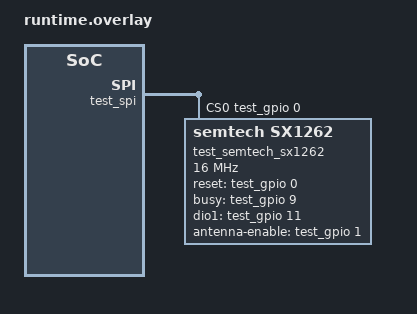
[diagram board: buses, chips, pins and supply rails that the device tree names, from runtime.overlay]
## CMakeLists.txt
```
# SPDX-FileCopyrightText: FoBE Studio
# SPDX-License-Identifier: Apache-2.0
cmake_minimum_required(VERSION 3.20.0)
find_package(Zephyr REQUIRED HINTS $ENV{ZEPHYR_BASE})
project(meshcore_role_lifecycle)
target_sources(app PRIVATE src/main.c)
target_link_libraries(zephyr_interface INTERFACE "-Wl,--wrap=settings_save_one" "-Wl,--wrap=settings_delete")
if(ROLE_RUNTIME_TEST)
  target_link_libraries(zephyr_interface INTERFACE "-Wl,--wrap=zbus_chan_pub"
    "-Wl,--wrap=meshcore_init" "-Wl,--wrap=meshcore_deinit" "-Wl,--wrap=meshcore_radio_tx_done" "-Wl,--wrap=meshcore_radio_rx_inject"
    "-Wl,--wrap=meshcore_node_advert_request" "-Wl,--wrap=k_work_submit_to_queue")
  target_compile_definitions(app PRIVATE TEST_REQUIRE_RUNTIME=1)
  target_sources(app PRIVATE src/radio_unavailable.c)
  target_include_directories(app PRIVATE ${ZEPHYR_BASE}/drivers/lora/lora-basics-modem)
endif()
```

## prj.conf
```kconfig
# SPDX-FileCopyrightText: FoBE Studio
# SPDX-License-Identifier: Apache-2.0

CONFIG_ZTEST=y
CONFIG_ZBUS_RUNTIME_OBSERVERS=y
CONFIG_ASSERT=y
CONFIG_LOG=y
CONFIG_MBS=y
CONFIG_MBS_SHELL=n
CONFIG_MBS_MESHCORE=y
CONFIG_MBS_MESHCORE_RUNTIME=n
CONFIG_MBS_CONTACT=y
CONFIG_MBS_CHANNEL=y
CONFIG_MBS_CHANNEL_MAX_CHANNELS=1
CONFIG_MBS_MESSAGE=y
CONFIG_MBS_MESSAGE_MAX_STORE_COUNT=5
CONFIG_SETTINGS=y
CONFIG_SETTINGS_ZMS=y
CONFIG_ZMS=y
CONFIG_FLASH=y
CONFIG_FLASH_MAP=y
CONFIG_FLASH_SIMULATOR=y
CONFIG_ENTROPY_GENERATOR=y
CONFIG_TEST_RANDOM_GENERATOR=y
CONFIG_MAIN_STACK_SIZE=4096
CONFIG_SYSTEM_WORKQUEUE_STACK_SIZE=4096
CONFIG_ZTEST_STACK_SIZE=4096
CONFIG_HEAP_MEM_POOL_SIZE=8192
```

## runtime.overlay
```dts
/* Capability metadata only; the physical driver is disabled and no radio is chosen. */
/*
 * SPDX-FileCopyrightText: FoBE Studio
 * SPDX-License-Identifier: Apache-2.0
 */

/ {
	test {
		#address-cells = <1>;
		#size-cells = <1>;

		test_gpio: gpio@deadbeef {
			compatible = "vnd,gpio";
			gpio-controller;
			reg = <0xdeadbeef 0x1000>;
			#gpio-cells = <0x2>;
			status = "okay";
		};

		test_spi: spi@33334444 {
			#address-cells = <1>;
			#size-cells = <0>;
			compatible = "vnd,spi";
			reg = <0x33334444 0x1000>;
			status = "okay";

			cs-gpios = <&test_gpio 0 0>;

			test_semtech_sx1262: sx1262@0 {
				compatible = "semtech,sx1262";
				status = "okay";
				reg = <0>;
				spi-max-frequency = <16000000>;
				reset-gpios = <&test_gpio 0 0>;
				busy-gpios = <&test_gpio 9 0>;
				dio1-gpios = <&test_gpio 11 0>;
				antenna-enable-gpios = <&test_gpio 1 0>;
				dio2-tx-enable;
				tcxo-power-startup-delay-ms = <5>;
			};
		};
	};
};
```

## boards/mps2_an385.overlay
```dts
#include <mem.h>

/ {
	sram_203F0000: sram@203f0000 {
		compatible = "zephyr,memory-region", "mmio-sram";
		reg = <0x203f0000 0x10000>;
		zephyr,memory-region = "FlashSim";
		status = "okay";
	};

	sim_flash_controller: sim_flash_controller {
		compatible = "zephyr,sim-flash";

		#address-cells = <1>;
		#size-cells = <1>;
		erase-value = <0xff>;
		memory-region = <&sram_203F0000>;

		flash_sim0: flash_sim@0 {
			compatible = "soc-nv-flash";
			reg = <0x00000000 0x10000>;

			erase-block-size = <1024>;
			write-block-size = <4>;
		};
	};
};

&flash_sim0 {
	partitions {
		compatible = "fixed-partitions";
		#address-cells = <1>;
		#size-cells = <1>;
		storage_partition: partition@0 {
			label = "storage";
			reg = <0 0x10000>;
		};
	};
};
```

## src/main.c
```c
/* SPDX-FileCopyrightText: FoBE Studio */
/* SPDX-License-Identifier: Apache-2.0 */
#include <errno.h>
#include <string.h>
#include <zephyr/device.h>
#include <zephyr/drivers/flash.h>
#include <zephyr/init.h>
#include <channel/channel.h>
#include <contact/contact.h>
#include <message/message.h>
#include <zephyr/sys/reboot.h>
#include <meshcore/meshcore.h>
#include <zephyr/settings/settings.h>
#include <zephyr/ztest.h>

#if defined(TEST_REQUIRE_RUNTIME)
#include "meshcore/platform.h"
#include <radio/radio.h>
static bool fake_tx;
static unsigned int fail_init;
static bool fail_submit;
static bool hold_init;
static bool hold_deinit;
static bool check_reentrant;
static bool boot_identity_captured;
static uint8_t boot_public_key[32];
K_SEM_DEFINE(deinit_entered, 0, 1);
K_SEM_DEFINE(deinit_release, 0, 1);
K_SEM_DEFINE(init_entered, 0, 1);
K_SEM_DEFINE(init_release, 0, 1);

int __real_k_work_submit_to_queue(struct k_work_q *queue, struct k_work *work);
int __wrap_k_work_submit_to_queue(struct k_work_q *queue, struct k_work *work)
{
	if (fail_submit) {
		fail_submit = false;
		return -EIO;
	}
	return __real_k_work_submit_to_queue(queue, work);
}

static atomic_t init_failures;
static atomic_t tx_completions;
static atomic_t rx_injections;
static atomic_t advert_requests;

int __real_zbus_chan_pub(const struct zbus_channel *chan, const void *msg, k_timeout_t timeout);
int __wrap_zbus_chan_pub(const struct zbus_channel *chan, const void *msg, k_timeout_t timeout)
{
	if (fake_tx && chan == &mbs_radio_publish_chan) {
		return 0; /* Hold one accepted radio send until the test publishes completion. */
	}
	return __real_zbus_chan_pub(chan, msg, timeout);
}

int __real_meshcore_radio_rx_inject(const uint8_t *data, size_t len,
	int16_t rssi, int8_t snr, uint32_t now);
int __wrap_meshcore_radio_rx_inject(const uint8_t *data, size_t len,
	int16_t rssi, int8_t snr, uint32_t now)
{
	atomic_inc(&rx_injections);
	return __real_meshcore_radio_rx_inject(data, len, rssi, snr, now);
}

int __real_meshcore_node_advert_request(bool flood);
int __wrap_meshcore_node_advert_request(bool flood)
{
	if (check_reentrant) {
		mbs_meshcore_config before, candidate, after;

		check_reentrant = false;
		zassert_ok(mbs_meshcore_config_get(&before));
		candidate = before;
		candidate.role = MBS_MESHCORE_ROLE_ROOM;
		zassert_equal(mbs_meshcore_config_set(&candidate), -EWOULDBLOCK);
		zassert_ok(mbs_meshcore_config_get(&after));
		zassert_mem_equal(&before, &after, sizeof(after));
		zassert_true(mbs_meshcore_runtime_is_ready());
	}
	atomic_inc(&advert_requests);
	return __real_meshcore_node_advert_request(flood);
}

void __real_meshcore_deinit(void);
void __wrap_meshcore_deinit(void)
{
	if (hold_deinit) {
		hold_deinit = false;
		k_sem_give(&deinit_entered);
		zassert_ok(k_sem_take(&deinit_release, K_SECONDS(2)));
	}
	__real_meshcore_deinit();
}

int __real_meshcore_init(void);
int __wrap_meshcore_init(void)
{
	if (!boot_identity_captured) {
		meshcore_common_node_identity_t identity;

		zassert_ok(meshcore_platform_node_identity_get(&identity));
		memcpy(boot_public_key, identity.public_key, sizeof(boot_public_key));
		boot_identity_captured = true;
	}
	if (hold_init) {
		hold_init = false;
		k_sem_give(&init_entered);
		if (k_sem_take(&init_release, K_SECONDS(2)) != 0) {
			return -ETIMEDOUT;
		}
	}
	if (fail_init) {
		fail_init--;
		atomic_inc(&init_failures);
		return -EIO;
	}
	return __real_meshcore_init();
}

int __real_meshcore_radio_tx_done(uint32_t now, bool success);
int __wrap_meshcore_radio_tx_done(uint32_t now, bool success)
{
	atomic_inc(&tx_completions);
	return __real_meshcore_radio_tx_done(now, success);
}

BUILD_ASSERT(IS_ENABLED(CONFIG_MBS_MESHCORE_RUNTIME),
	     "Runtime fixture must include the engine");
#endif

BUILD_ASSERT(DT_NODE_HAS_PROP(DT_NODELABEL(sim_flash_controller), memory_region),
	     "Lifecycle fixture requires flash retained over real emulated resets");

/* The flash simulator and this cursor survive real emulated MCU resets. */
static struct {
	uint32_t magic;
	uint32_t step;
	uint8_t public_key[32];
} retained __noinit;
static atomic_t save_attempts;
#if defined(CONFIG_MBS_CONTACT)
static const uint8_t peer_key[32] = {0x73};
#endif

int __real_settings_save_one(const char *name, const void *value, size_t len);
int __wrap_settings_save_one(const char *name, const void *value, size_t len)
{
	if (strcmp(name, "meshbus/meshcore/config") == 0) {
		atomic_inc(&save_attempts);
	}
	return __real_settings_save_one(name, value, len);
}

int __real_settings_delete(const char *name);
int __wrap_settings_delete(const char *name)
{
	if (strcmp(name, "meshbus/meshcore/config") == 0) {
		atomic_inc(&save_attempts);
	}
	return __real_settings_delete(name);
}

static int prepare_flash(void)
{
	if (retained.magic != 0x726f6c65) {
		const struct device *flash = DEVICE_DT_GET(DT_NODELABEL(sim_flash_controller));
		int rc = flash_erase(flash, 0, 0x10000);

		if (rc != 0) {
			return rc;
		}
		retained.step = 0;
		retained.magic = 0x726f6c65;
	}
	return 0;
}
SYS_INIT(prepare_flash, POST_KERNEL, 99);

#if defined(CONFIG_MBS_CHANNEL)
/* Every directed transition between the four roles, once. */
static const uint8_t roles[] = {1, 2, 1, 3, 1, 4, 2, 3, 2, 4, 3, 4, 1};
#else
static const uint8_t roles[] = {2, 3, 2, 4, 3, 4, 2};
#endif

static void check_role(uint8_t role)
{
	mbs_meshcore_config cfg;

	zassert_ok(mbs_meshcore_config_get(&cfg));
	zassert_equal(cfg.role, role);
	zassert_equal(mbs_meshcore_active_role_get(), role);
	zassert_equal(mbs_meshcore_runtime_is_ready(),
		      IS_ENABLED(CONFIG_MBS_MESHCORE_RUNTIME));
#if defined(TEST_REQUIRE_RUNTIME)
	meshcore_common_node_runtime_policy_t policy;
	meshcore_common_cli_event_t cli = {
		.public_key = {0x73},
		.sender_timestamp = 1U,
		.route = MESHCORE_COMMON_MESSAGE_ROUTE_DIRECT,
		.text_len = 6U,
		.text = "reboot",
	};
	char reply[16] = "unchanged";
	mbs_meshcore_config after;

	zassert_ok(meshcore_platform_node_runtime_policy_get(&policy));
	zassert_equal(policy.tx_delay_factor, cfg.tx_delay_factor);
	zassert_equal(policy.direct_tx_delay_factor, cfg.direct_tx_delay_factor);
	cli.type = MESHCORE_COMMON_CLI_COMMAND;
	zassert_equal(meshcore_platform_cli_receive(&cli, reply, sizeof(reply) - 1U),
		      -ENOTSUP);
	cli.type = MESHCORE_COMMON_CLI_DATA;
	zassert_equal(meshcore_platform_cli_receive(&cli,
		role == MBS_MESHCORE_ROLE_CHAT ? NULL : reply,
		role == MBS_MESHCORE_ROLE_CHAT ? 0U : sizeof(reply) - 1U), -ENOTSUP);
	zassert_str_equal(reply, "unchanged");
	zassert_ok(mbs_meshcore_config_get(&after));
	zassert_mem_equal(&cfg, &after, sizeof(cfg));
#endif
}

static void wait_persistence(void)
{
	k_sleep(K_MSEC(CONFIG_MBS_SETTINGS_PERSISTENCE_DELAY + 100));
}

#if defined(TEST_REQUIRE_RUNTIME)
K_THREAD_STACK_DEFINE(update_stack, 4096);
static struct k_thread update_thread;
static int update_result;
static atomic_t update_done;

static void update_entry(void *candidate, void *unused1, void *unused2)
{
	ARG_UNUSED(unused1);
	ARG_UNUSED(unused2);
	update_result = candidate == NULL ? mbs_meshcore_config_reset() :
		mbs_meshcore_config_set(candidate);
	atomic_set(&update_done, 1);
}

static void start_update(mbs_meshcore_config *candidate)
{
	atomic_clear(&update_done);
	k_thread_create(&update_thread, update_stack, K_THREAD_STACK_SIZEOF(update_stack),
			update_entry, candidate, NULL, NULL, K_PRIO_PREEMPT(5), 0, K_NO_WAIT);
}

static void finish_update(void)
{
	zassert_ok(k_thread_join(&update_thread, K_SECONDS(2)));
	zassert_equal(atomic_get(&update_done), 1);
	zassert_ok(update_result);
}

static void check_uncommitted(const mbs_meshcore_config *before)
{
	mbs_meshcore_config cfg;

	zassert_ok(mbs_meshcore_config_get(&cfg));
	zassert_mem_equal(&cfg, before, sizeof(cfg));
}

static void check_blocked_update(mbs_meshcore_config *before)
{
	zassert_equal(atomic_get(&update_done), 0);
	zassert_false(mbs_meshcore_runtime_is_ready());
	check_uncommitted(before);
	zassert_equal(mbs_meshcore_config_set(before), -EBUSY);
	zassert_equal(mbs_meshcore_config_reset(), -EBUSY);
	zassert_equal(mbs_meshcore_advert_request(false), -EBUSY);
}

static void check_failed_update(bool reset, bool submission, unsigned int failures)
{
	mbs_meshcore_config before, candidate;
	atomic_val_t writes;

	wait_persistence();
	zassert_ok(mbs_meshcore_config_get(&before));
	candidate = before;
	candidate.role = before.role == roles[0] ? roles[1] : roles[0];
	writes = atomic_get(&save_attempts);
	fail_submit = submission;
	fail_init = failures;
	zassert_equal(reset ? mbs_meshcore_config_reset() :
		      mbs_meshcore_config_set(&candidate), -EIO);
	check_uncommitted(&before);
	zassert_equal(mbs_meshcore_active_role_get(), before.role);
	zassert_equal(mbs_meshcore_runtime_is_ready(), failures < 2);
	wait_persistence();
	zassert_equal(atomic_get(&save_attempts), writes,
		      "A failed candidate must not schedule a settings write");
	if (failures >= 2) {
		/* The committed configuration is also the recovery target after double failure. */
		zassert_ok(mbs_meshcore_config_set(&before));
	}
	check_role(before.role);
}
#endif

static void check_preserved_tables(void)
{
#if defined(CONFIG_MBS_CHANNEL)
	mbs_channel channel;
	mbs_contact contact;
	uint8_t secret[16] = {0x42};

	zassert_ok(mbs_channel_get(0, &channel));
	zassert_str_equal(channel.name, "custom");
	zassert_equal(channel.secret.size, sizeof(secret));
	zassert_mem_equal(channel.secret.bytes, secret, sizeof(secret));
	zassert_ok(mbs_contact_find_by_key(peer_key, &contact));
#endif
}

static void reset_live(void)
{
	mbs_meshcore_config before, cfg;
#if defined(TEST_REQUIRE_RUNTIME)
	meshcore_common_node_identity_t identity;

	/* Populate the host cache, then hold the old engine before deinitialization. */
	zassert_ok(meshcore_platform_node_identity_get(&identity));
#endif
	zassert_ok(mbs_meshcore_config_get(&before));
#if defined(TEST_REQUIRE_RUNTIME)
	hold_deinit = true;
	start_update(NULL);
	zassert_ok(k_sem_take(&deinit_entered, K_SECONDS(1)));
	check_blocked_update(&before);
	zassert_ok(meshcore_platform_node_identity_get(&identity));
	zassert_mem_equal(identity.public_key, before.public_key.bytes, sizeof(identity.public_key));
	k_sem_give(&deinit_release);
	finish_update();
#else
	zassert_ok(mbs_meshcore_config_reset());
#endif
	check_role(roles[0]);
	zassert_ok(mbs_meshcore_config_get(&cfg));
	zassert_equal(cfg.role, roles[0]);
	zassert_equal(cfg.latitude, 0);
	zassert_false(cfg.client_repeat);
	zassert_equal(cfg.path_hash_size, 1);
	check_preserved_tables();
#if defined(TEST_REQUIRE_RUNTIME)
	zassert_equal(cfg.public_key.size, MBS_MESHCORE_PUBLIC_KEY_SIZE);
	zassert_equal(cfg.private_key.size, MBS_MESHCORE_PRIVATE_KEY_SIZE);
	zassert_not_equal(memcmp(cfg.public_key.bytes, before.public_key.bytes,
				MBS_MESHCORE_PUBLIC_KEY_SIZE), 0);
	zassert_not_equal(cfg.name[0], '\0');
	zassert_equal(cfg.flood_max, 64);
	zassert_equal(cfg.advert_interval, 60);
	zassert_ok(meshcore_platform_node_identity_get(&identity));
	zassert_mem_equal(identity.public_key, cfg.public_key.bytes, sizeof(identity.public_key));
	memcpy(retained.public_key, cfg.public_key.bytes, sizeof(retained.public_key));
#endif
	/* Cross the old automatic-reboot deadline with the test cursor unchanged. */
	k_sleep(K_SECONDS(1));
}

ZTEST(role_lifecycle, test_live_role_and_persistence)
{
	mbs_meshcore_config cfg;
#if defined(TEST_REQUIRE_RUNTIME)
	mbs_meshcore_config saved;
#endif

	zassert_ok(mbs_meshcore_config_get(&cfg));

#if defined(TEST_REQUIRE_RUNTIME)
	/* The first engine initialization must see the eventual receive identity,
	 * including on blank storage, before any outgoing request can refresh it.
	 */
	zassert_true(boot_identity_captured);
	zassert_equal(cfg.public_key.size, sizeof(boot_public_key));
	zassert_mem_equal(boot_public_key, cfg.public_key.bytes, sizeof(boot_public_key),
			  "Engine started before the local identity was ready");
#endif
	if (retained.step == 1) {
#if defined(TEST_REQUIRE_RUNTIME)
		uint8_t consumed_seed[32];

		/* Test entropy repeats after reboot; skip the first-boot identity seed. */
		meshcore_platform_rng_random(consumed_seed, sizeof(consumed_seed));
#endif
		/* An explicit reboot, not the role setter, verifies durable settings. */
		zassert_equal(cfg.role, roles[ARRAY_SIZE(roles) - 2]);
		zassert_str_equal(cfg.name, "persistent identity");
		retained.step = 2;
		reset_live(); /* Restore the default role as well as the identity. */
		reset_live(); /* Same-role identity replacement must also stop the engine. */
#if defined(TEST_REQUIRE_RUNTIME)
		check_failed_update(true, true, 0);
		check_failed_update(true, false, 1);
		check_failed_update(true, false, 2);
#endif
		wait_persistence();
		retained.step = 3;
		sys_reboot(SYS_REBOOT_COLD);
	}
	zassert_not_equal(retained.step, 2, "Configuration reset rebooted the device");
	if (retained.step == 3) {
		zassert_equal(cfg.role, roles[0]);
		check_role(cfg.role);
		check_preserved_tables();
#if defined(TEST_REQUIRE_RUNTIME)
		zassert_mem_equal(cfg.public_key.bytes, retained.public_key, sizeof(retained.public_key));
#endif
		return;
	}
	zassert_equal(retained.step, 0, "Unexpected reboot during live role changes");
	zassert_equal(cfg.role, roles[0]);
	zassert_equal(cfg.tx_delay_factor, 0.5f);
	zassert_equal(cfg.direct_tx_delay_factor, 0.2f);
	check_role(cfg.role);
	cfg.role = 0;
	zassert_equal(mbs_meshcore_config_set(&cfg), -EINVAL);
	cfg.role = 5;
	zassert_equal(mbs_meshcore_config_set(&cfg), -EINVAL);
#if !defined(CONFIG_MBS_CHANNEL)
	cfg.role = MBS_MESHCORE_ROLE_CHAT;
	zassert_equal(mbs_meshcore_config_set(&cfg), -ENOTSUP);
#else
	uint8_t secret[16] = {0x42};
	mbs_channel channel;
	mbs_contact contact;

#if defined(TEST_REQUIRE_RUNTIME)
	meshcore_common_channel_view_t match;
	uint8_t zero_secret[16] = {0};
	uint8_t empty_hash = 0U;

	zassert_ok(mbs_channel_reset(0));
	zassert_equal(meshcore_platform_channel_search_by_hash(&empty_hash, &match, 1), 0);
	zassert_ok(mbs_channel_set(0, zero_secret, sizeof(zero_secret), "zero secret"));
	zassert_ok(mbs_channel_get(0, &channel));
	zassert_equal(meshcore_platform_channel_search_by_hash(channel.hash.bytes, &match, 1),
		      1, "A configured all-zero secret must remain searchable");
	zassert_mem_equal(match.secret, zero_secret, sizeof(zero_secret));
#endif
	zassert_ok(mbs_channel_set(0, secret, sizeof(secret), "custom"));
	zassert_ok(mbs_contact_insert(peer_key, "retained peer", MBS_CONTACT_ROLE_CHAT));
#endif
#if defined(TEST_REQUIRE_RUNTIME)
	static const uint8_t packet[] = {0x42};
	struct mbs_radio_tx_done_event done = {.status = 0};

	struct mbs_radio_state_event radio_enabled = {.enabled = true};

	struct mbs_radio_receive_event rx = {.len = 1, .data = {0x42}};

	/* Radio is paused by the unavailable backend: these stay queued until switching. */
	zassert_ok(mbs_meshcore_advert_request(false));
	zassert_ok(zbus_chan_pub(&mbs_radio_receive_chan, &rx, K_MSEC(100)));
	fake_tx = true;
	zassert_equal(meshcore_platform_radio_packet_send(packet, sizeof(packet)), 1);
#endif
	for (size_t i = 1; i < ARRAY_SIZE(roles); i++) {
		zassert_ok(mbs_meshcore_config_get(&cfg));
#if defined(TEST_REQUIRE_RUNTIME)
		saved = cfg;
#endif
		cfg.role = roles[i];
		/* Delay factors apply to CHAT as well as REPEATER.
		 * Exercise explicit zero and non-default values across live roles.
		 */
		cfg.tx_delay_factor = i % 2U == 0U ? 0.0f : 0.75f;
		cfg.direct_tx_delay_factor = i % 2U == 0U ? 0.0f : 0.25f;
		strcpy(cfg.name, "persistent identity");
#if defined(TEST_REQUIRE_RUNTIME)
		if (i == 1) {
			fail_submit = true;
			zassert_equal(mbs_meshcore_config_set(&cfg), -EIO);
			check_uncommitted(&saved);
			check_role(saved.role);
			hold_init = true;
			start_update(&cfg);
			zassert_ok(k_sem_take(&init_entered, K_SECONDS(1)));
			check_blocked_update(&saved);
			k_sem_give(&init_release);
			finish_update();
		} else
#endif
		{
			zassert_ok(mbs_meshcore_config_set(&cfg));
		}
		check_role(cfg.role);
#if defined(TEST_REQUIRE_RUNTIME)
		meshcore_common_node_identity_t identity;

		zassert_ok(meshcore_platform_node_identity_get(&identity));
		zassert_equal((unsigned int)identity.role, (unsigned int)cfg.role);
#endif
#if defined(CONFIG_MBS_CHANNEL)
		zassert_ok(mbs_channel_get(0, &channel));
		zassert_str_equal(channel.name, "custom");
		zassert_ok(mbs_contact_find_by_key(peer_key, &contact));
#endif
	}
#if defined(TEST_REQUIRE_RUNTIME)
	zassert_ok(zbus_chan_pub(&mbs_radio_state_chan, &radio_enabled, K_MSEC(100)));
	k_sleep(K_MSEC(20));
	zassert_equal(atomic_get(&rx_injections), 0);
	zassert_equal(atomic_get(&advert_requests), 0);
	/* Old TX occupies hardware across every switch; its completion cannot enter the new engine. */
	zassert_equal(meshcore_platform_radio_packet_send(packet, sizeof(packet)), 0);
	zassert_ok(zbus_chan_pub(&mbs_radio_tx_done_chan, &done, K_MSEC(100)));
	k_sleep(K_MSEC(20));
	zassert_equal(atomic_get(&tx_completions), 0);
	zassert_equal(meshcore_platform_radio_packet_send(packet, sizeof(packet)), 1);
	zassert_ok(zbus_chan_pub(&mbs_radio_tx_done_chan, &done, K_MSEC(100)));
	k_sleep(K_MSEC(20));
	zassert_equal(atomic_get(&tx_completions), 1);
	fake_tx = false;
	zassert_ok(zbus_chan_pub(&mbs_radio_receive_chan, &rx, K_MSEC(100)));
	check_reentrant = true;
	zassert_ok(mbs_meshcore_advert_request(false));
	k_sleep(K_MSEC(20));
	zassert_equal(atomic_get(&rx_injections), 1);
	zassert_equal(atomic_get(&advert_requests), 1);
	zassert_false(check_reentrant);


	check_failed_update(false, true, 0);
	check_failed_update(false, false, 1);
	check_failed_update(false, false, 2);
#endif
	/* Survive the former 750 ms automatic reboot deadline. */
	k_sleep(K_SECONDS(1));
	cfg.role = roles[ARRAY_SIZE(roles) - 2];
	zassert_ok(mbs_meshcore_config_set(&cfg));
	check_role(cfg.role);
	wait_persistence();
#if defined(TEST_REQUIRE_RUNTIME)
	/* A rejected role must not replace the last successful setting across reboot. */
	check_failed_update(false, false, 1);
#endif
	retained.step = 1;
	sys_reboot(SYS_REBOOT_COLD);
}
ZTEST_SUITE(role_lifecycle, NULL, NULL, NULL, NULL, NULL);
```

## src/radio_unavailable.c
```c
/* SPDX-FileCopyrightText: FoBE Studio */
/* SPDX-License-Identifier: Apache-2.0 */
/* No physical modem exists in this fixture. Never allow a hardware operation. */
#include <zephyr/ztest.h>
#include "lbm_common.h"

void lbm_driver_antenna_configure(const struct device *dev, enum lbm_modem_mode mode)
{
	ARG_UNUSED(dev);
	ARG_UNUSED(mode);
	zassert_unreachable("Runtime must remain paused without a radio device");
}
```
